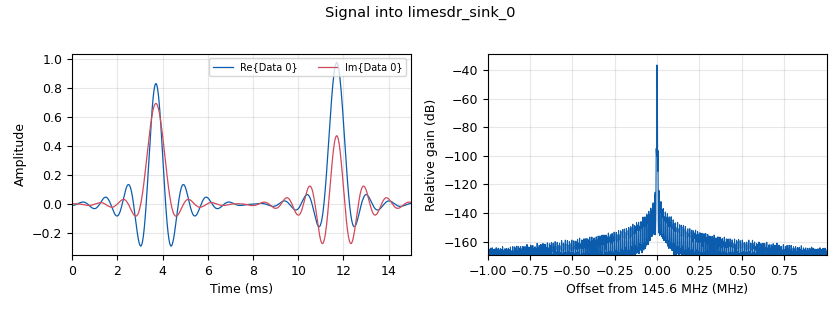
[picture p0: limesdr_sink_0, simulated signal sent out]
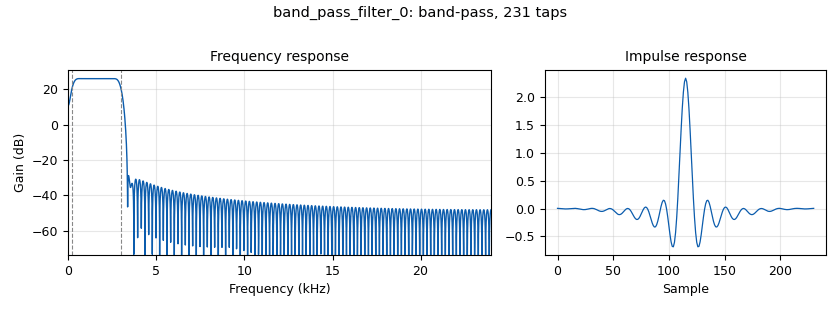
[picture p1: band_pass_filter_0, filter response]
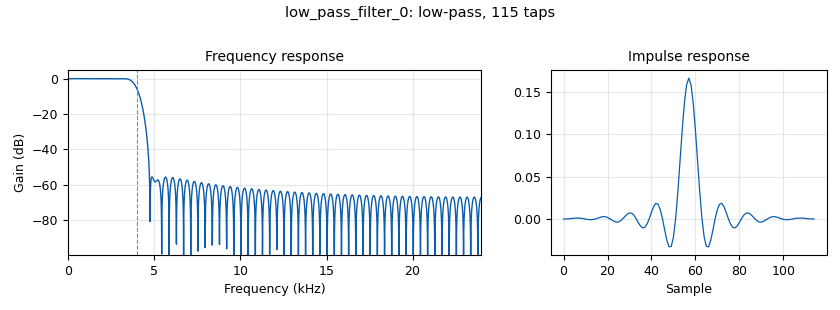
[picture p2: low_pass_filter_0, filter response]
<?xml version='1.0' encoding='utf-8'?>
<?grc format='1' created='3.7.11'?>
<flow_graph>
<block>
<key>options</key>
<param><key>id</key><value>top_block</value></param>
<param><key>generate_options</key><value>wx_gui</value></param>
</block>
<block>
<key>variable_slider</key>
<param><key>id</key><value>freq</value></param>
<param><key>converver</key><value>float_converter</value></param>
<param><key>value</key><value>250</value></param>
<param><key>label</key><value>freq</value></param>
<param><key>max</key><value>750</value></param>
<param><key>min</key><value>150</value></param>
<param><key>num_steps</key><value>600</value></param>
<param><key>style</key><value>wx.SL_HORIZONTAL</value></param>
</block>
<block>
<key>variable</key>
<param><key>id</key><value>samp_rate</value></param>
<param><key>value</key><value>48000</value></param>
</block>
<block>
<key>analog_nbfm_rx</key>
<param><key>id</key><value>analog_nbfm_rx_0</value></param>
<param><key>audio_rate</key><value>48000</value></param>
<param><key>_enabled</key><value>0</value></param>
<param><key>max_dev</key><value>5e3</value></param>
<param><key>quad_rate</key><value>48000</value></param>
<param><key>tau</key><value>75e-6</value></param>
</block>
<block>
<key>analog_nbfm_tx</key>
<param><key>id</key><value>analog_nbfm_tx_0</value></param>
<param><key>audio_rate</key><value>48000</value></param>
<param><key>max_dev</key><value>5e3</value></param>
<param><key>fh</key><value>-1.0</value></param>
<param><key>quad_rate</key><value>48000</value></param>
<param><key>tau</key><value>75e-6</value></param>
</block>
<block>
<key>analog_sig_source_x</key>
<param><key>id</key><value>analog_sig_source_x_0</value></param>
<param><key>amp</key><value>.500</value></param>
<param><key>freq</key><value>freq</value></param>
<param><key>offset</key><value>0</value></param>
<param><key>type</key><value>float</value></param>
<param><key>samp_rate</key><value>samp_rate</value></param>
<param><key>waveform</key><value>analog.GR_COS_WAVE</value></param>
</block>
<block>
<key>analog_simple_squelch_cc</key>
<param><key>id</key><value>analog_simple_squelch_cc_0</value></param>
<param><key>alpha</key><value>1</value></param>
<param><key>_enabled</key><value>0</value></param>
<param><key>threshold</key><value>-80</value></param>
</block>
<block>
<key>audio_sink</key>
<param><key>id</key><value>audio_sink_0</value></param>
<param><key>_enabled</key><value>0</value></param>
<param><key>samp_rate</key><value>samp_rate</value></param>
</block>
<block>
<key>band_pass_filter</key>
<param><key>id</key><value>band_pass_filter_0</value></param>
<param><key>decim</key><value>1</value></param>
<param><key>type</key><value>fir_filter_fff</value></param>
<param><key>gain</key><value>20</value></param>
<param><key>high_cutoff_freq</key><value>3e3</value></param>
<param><key>low_cutoff_freq</key><value>200</value></param>
<param><key>samp_rate</key><value>samp_rate</value></param>
<param><key>width</key><value>500</value></param>
<param><key>win</key><value>firdes.WIN_HAMMING</value></param>
</block>
<block>
<key>blocks_multiply_const_vxx</key>
<param><key>id</key><value>blocks_multiply_const_vxx_0</value></param>
<param><key>const</key><value>.05</value></param>
<param><key>_enabled</key><value>0</value></param>
<param><key>type</key><value>float</value></param>
</block>
<block>
<key>blocks_throttle</key>
<param><key>id</key><value>blocks_throttle_0</value></param>
<param><key>samples_per_second</key><value>samp_rate</value></param>
<param><key>type</key><value>float</value></param>
</block>
<block>
<key>limesdr_sink</key>
<param><key>id</key><value>limesdr_sink_0</value></param>
<param><key>calibr_bandw_ch0</key><value>5e6</value></param>
<param><key>digital_bandw_ch0</key><value>0</value></param>
<param><key>gain_dB_ch0</key><value>45</value></param>
<param><key>calibr_bandw_ch1</key><value>5e6</value></param>
<param><key>digital_bandw_ch1</key><value>0</value></param>
<param><key>gain_dB_ch1</key><value>30</value></param>
<param><key>pa_path_ch1</key><value>1</value></param>
<param><key>channel_mode</key><value>0</value></param>
<param><key>oversample</key><value>0</value></param>
<param><key>rf_freq</key><value>145.6e6</value></param>
<param><key>samp_rate</key><value>2e6</value></param>
</block>
<block>
<key>limesdr_source</key>
<param><key>id</key><value>limesdr_source_0</value></param>
<param><key>analog_bandw_ch0</key><value>5e6</value></param>
<param><key>calibr_bandw_ch0</key><value>5e6</value></param>
<param><key>digital_bandw_ch0</key><value>0</value></param>
<param><key>gain_dB_ch0</key><value>30</value></param>
<param><key>analog_bandw_ch1</key><value>5e6</value></param>
<param><key>calibr_bandw_ch1</key><value>5e6</value></param>
<param><key>digital_bandw_ch1</key><value>0</value></param>
<param><key>gain_dB_ch1</key><value>30</value></param>
<param><key>channel_mode</key><value>0</value></param>
<param><key>_enabled</key><value>0</value></param>
<param><key>oversample</key><value>0</value></param>
<param><key>rf_freq</key><value>8e6</value></param>
<param><key>samp_rate</key><value>samp_rate</value></param>
</block>
<block>
<key>low_pass_filter</key>
<param><key>id</key><value>low_pass_filter_0</value></param>
<param><key>cutoff_freq</key><value>4000</value></param>
<param><key>decim</key><value>1</value></param>
<param><key>type</key><value>fir_filter_ccf</value></param>
<param><key>gain</key><value>1</value></param>
<param><key>samp_rate</key><value>samp_rate</value></param>
<param><key>width</key><value>1e3</value></param>
<param><key>win</key><value>firdes.WIN_HAMMING</value></param>
</block>
<block>
<key>low_pass_filter</key>
<param><key>id</key><value>low_pass_filter_1</value></param>
<param><key>cutoff_freq</key><value>8e3</value></param>
<param><key>decim</key><value>1</value></param>
<param><key>_enabled</key><value>0</value></param>
<param><key>type</key><value>fir_filter_ccf</value></param>
<param><key>gain</key><value>1</value></param>
<param><key>samp_rate</key><value>samp_rate</value></param>
<param><key>width</key><value>2e3</value></param>
<param><key>win</key><value>firdes.WIN_HAMMING</value></param>
</block>
<block>
<key>rational_resampler_xxx</key>
<param><key>id</key><value>rational_resampler_xxx_0</value></param>
<param><key>decim</key><value>3</value></param>
<param><key>interp</key><value>500</value></param>
<param><key>taps</key><value></value></param>
<param><key>type</key><value>ccc</value></param>
</block>
<block>
<key>rational_resampler_xxx</key>
<param><key>id</key><value>rational_resampler_xxx_1</value></param>
<param><key>decim</key><value>8000000</value></param>
<param><key>_enabled</key><value>0</value></param>
<param><key>interp</key><value>48000</value></param>
<param><key>taps</key><value></value></param>
<param><key>type</key><value>ccc</value></param>
</block>
<block>
<key>wxgui_fftsink2</key>
<param><key>id</key><value>wxgui_fftsink2_0</value></param>
<param><key>avg_alpha</key><value>0</value></param>
<param><key>average</key><value>False</value></param>
<param><key>baseband_freq</key><value>0</value></param>
<param><key>_enabled</key><value>0</value></param>
<param><key>fft_size</key><value>1024</value></param>
<param><key>freqvar</key><value>None</value></param>
<param><key>peak_hold</key><value>False</value></param>
<param><key>ref_level</key><value>0</value></param>
<param><key>ref_scale</key><value>2.0</value></param>
<param><key>fft_rate</key><value>15</value></param>
<param><key>samp_rate</key><value>samp_rate</value></param>
<param><key>title</key><value>FFT Plot</value></param>
<param><key>type</key><value>complex</value></param>
<param><key>win</key><value>None</value></param>
<param><key>y_divs</key><value>10</value></param>
<param><key>y_per_div</key><value>10</value></param>
</block>
<block>
<key>wxgui_fftsink2</key>
<param><key>id</key><value>wxgui_fftsink2_0_0</value></param>
<param><key>avg_alpha</key><value>0</value></param>
<param><key>average</key><value>False</value></param>
<param><key>baseband_freq</key><value>0</value></param>
<param><key>_enabled</key><value>0</value></param>
<param><key>fft_size</key><value>1024</value></param>
<param><key>freqvar</key><value>None</value></param>
<param><key>peak_hold</key><value>False</value></param>
<param><key>ref_level</key><value>0</value></param>
<param><key>ref_scale</key><value>2.0</value></param>
<param><key>fft_rate</key><value>15</value></param>
<param><key>samp_rate</key><value>samp_rate</value></param>
<param><key>title</key><value>FFT Plot</value></param>
<param><key>type</key><value>complex</value></param>
<param><key>win</key><value>None</value></param>
<param><key>y_divs</key><value>10</value></param>
<param><key>y_per_div</key><value>10</value></param>
</block>
<connection><source_block_id>analog_nbfm_rx_0</source_block_id><sink_block_id>blocks_multiply_const_vxx_0</sink_block_id><source_key>0</source_key><sink_key>0</sink_key></connection>
<connection><source_block_id>analog_nbfm_tx_0</source_block_id><sink_block_id>low_pass_filter_0</sink_block_id><source_key>0</source_key><sink_key>0</sink_key></connection>
<connection><source_block_id>analog_nbfm_tx_0</source_block_id><sink_block_id>wxgui_fftsink2_0</sink_block_id><source_key>0</source_key><sink_key>0</sink_key></connection>
<connection><source_block_id>analog_sig_source_x_0</source_block_id><sink_block_id>blocks_throttle_0</sink_block_id><source_key>0</source_key><sink_key>0</sink_key></connection>
<connection><source_block_id>analog_simple_squelch_cc_0</source_block_id><sink_block_id>analog_nbfm_rx_0</sink_block_id><source_key>0</source_key><sink_key>0</sink_key></connection>
<connection><source_block_id>band_pass_filter_0</source_block_id><sink_block_id>analog_nbfm_tx_0</sink_block_id><source_key>0</source_key><sink_key>0</sink_key></connection>
<connection><source_block_id>blocks_multiply_const_vxx_0</source_block_id><sink_block_id>audio_sink_0</sink_block_id><source_key>0</source_key><sink_key>0</sink_key></connection>
<connection><source_block_id>blocks_throttle_0</source_block_id><sink_block_id>band_pass_filter_0</sink_block_id><source_key>0</source_key><sink_key>0</sink_key></connection>
<connection><source_block_id>limesdr_source_0</source_block_id><sink_block_id>rational_resampler_xxx_1</sink_block_id><source_key>0</source_key><sink_key>0</sink_key></connection>
<connection><source_block_id>low_pass_filter_0</source_block_id><sink_block_id>rational_resampler_xxx_0</sink_block_id><source_key>0</source_key><sink_key>0</sink_key></connection>
<connection><source_block_id>low_pass_filter_1</source_block_id><sink_block_id>analog_simple_squelch_cc_0</sink_block_id><source_key>0</source_key><sink_key>0</sink_key></connection>
<connection><source_block_id>rational_resampler_xxx_0</source_block_id><sink_block_id>limesdr_sink_0</sink_block_id><source_key>0</source_key><sink_key>0</sink_key></connection>
<connection><source_block_id>rational_resampler_xxx_0</source_block_id><sink_block_id>wxgui_fftsink2_0_0</sink_block_id><source_key>0</source_key><sink_key>0</sink_key></connection>
<connection><source_block_id>rational_resampler_xxx_1</source_block_id><sink_block_id>low_pass_filter_1</sink_block_id><source_key>0</source_key><sink_key>0</sink_key></connection>
</flow_graph>
